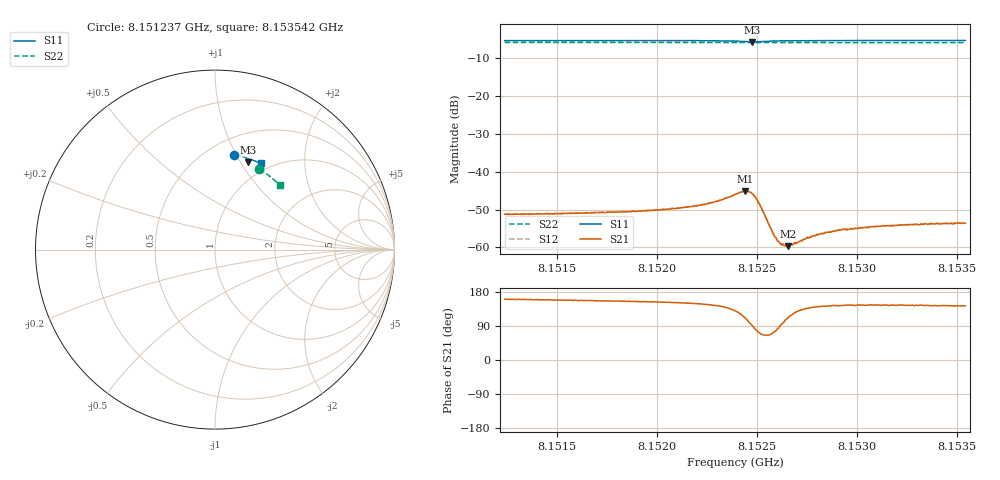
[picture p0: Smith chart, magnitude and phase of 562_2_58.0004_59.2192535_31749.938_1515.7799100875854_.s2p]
#  HZ  S  RI  R  50.00
! Rohde & Schwarz Vector Network Analyzer
! Rohde-Schwarz,ZNB20-2Port,1311601062101988,3.16
! Created: UTC 3/21/2024, 1:15:27 AM
! freq[Hz]  re:S11  im:S11  re:S21  im:S21  re:S12  im:S12  re:S22  im:S22
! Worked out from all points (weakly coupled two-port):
!   401 points, 8.151237 GHz to 8.153542 GHz, reference 50 ohm
!   highest |S21| = -45.14 dB at 8.152441 GHz (marker M1); lowest = -59.7 dB at 8.152654 GHz (marker M2)
!   lowest |S11| = -5.7 dB at 8.152476 GHz (marker M3), VSWR 3.16, Z = 40.3 + j53.7 ohm
!   |S11| at or under -10 dB: nowhere
!   |S22| runs from -5.9 to -5.8 dB; largest |S21 - S12| = 0.00011
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8.1512367e9  0.1064 0.529  -0.00258 0.000901  -0.00256 0.000978  0.2468 0.4479
8.1516228e9  0.1335 0.5234  -0.00262 0.00108  -0.00262 0.00115  0.268 0.435
8.152009e9  0.1604 0.5161  -0.00279 0.00142  -0.00278 0.00152  0.2885 0.421
8.1521242e9  0.1689 0.5133  -0.00293 0.00164  -0.0029 0.00168  0.2943 0.4167
8.1522337e9  0.1776 0.5096  -0.0031 0.00204  -0.00309 0.00204  0.3002 0.4124
8.1523202e9  0.1848 0.5051  -0.00331 0.00265  -0.00327 0.00271  0.3044 0.4089
8.1523893e9  0.19 0.4981  -0.00321 0.00382  -0.00319 0.00388  0.3079 0.4061
8.1524412e9  0.1887 0.4891  -0.00193 0.00518  -0.00187 0.00526  0.3101 0.4038
8.1524585e9  0.1858 0.4872  -0.00105 0.00535  -0.000978 0.0054  0.3108 0.4031
8.1524758e9  0.1819 0.4869  -4.56e-05 0.0051  1.55e-05 0.00512  0.3113 0.4024
8.152493e9  0.1786 0.489  0.000779 0.00446  0.00082 0.00449  0.3122 0.4019
8.1525046e9  0.1773 0.4911  0.00109 0.00389  0.00115 0.00392  0.3127 0.4017
8.1525795e9  0.1827 0.5017  0.000484 0.00147  0.000511 0.00145  0.3166 0.3991
8.1526083e9  0.1862 0.5027  0.000115 0.00119  9.02e-05 0.00118  0.3182 0.3978
8.1526314e9  0.1888 0.5033  -0.000168 0.00105  -0.000165 0.00111  0.3194 0.397
8.1526544e9  0.1913 0.5031  -0.000379 0.000965  -0.000399 0.000987  0.3205 0.3959
8.1526832e9  0.1942 0.5028  -0.000607 0.000931  -0.000611 0.000955  0.3219 0.3949
8.1527754e9  0.2022 0.5012  -0.00106 0.000932  -0.00106 0.000991  0.3264 0.391
8.1528504e9  0.208 0.4995  -0.00125 0.000973  -0.00124 0.000995  0.3301 0.3878
8.1529195e9  0.2131 0.4978  -0.00137 0.000994  -0.00139 0.00103  0.3334 0.3851
8.1531616e9  0.2297 0.4911  -0.00155 0.00115  -0.00158 0.00113  0.3446 0.3745
8.1535419e9  0.2543 0.4797  -0.00166 0.00125  -0.00166 0.00131  0.3616 0.3573
